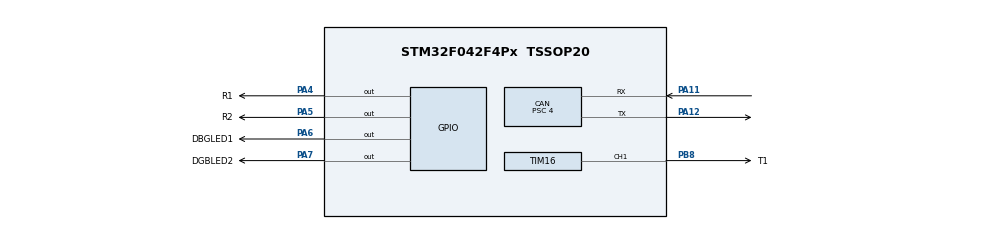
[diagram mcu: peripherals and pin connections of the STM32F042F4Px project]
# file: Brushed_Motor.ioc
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CAN.BS1=CAN_BS1_13TQ
CAN.BS2=CAN_BS2_2TQ
CAN.CalculateBaudRate=125000
CAN.CalculateTimeBit=8000
CAN.CalculateTimeQuantum=500.0
CAN.Prescaler=4
Mcu.Family=STM32F0
Mcu.Name=STM32F042F4Px
Mcu.Package=TSSOP20
NVIC.CEC_CAN_IRQn=true\:0\:0\:false\:false\:true\:true\:true\:true
PA11.Mode=CAN_Activate
PA11.Signal=CAN_RX
PA12.Mode=CAN_Activate
PA12.Signal=CAN_TX
PA13.Mode=Serial_Wire
PA13.Signal=SYS_SWDIO
PA14.Mode=Serial_Wire
PA14.Signal=SYS_SWCLK
PA4.GPIO_Label=R1
PA4.Signal=GPIO_Output
PA5.GPIO_Label=R2
PA5.Signal=GPIO_Output
PA6.GPIO_Label=DBGLED1
PA6.Signal=GPIO_Output
PA7.GPIO_Label=DGBLED2
PA7.Signal=GPIO_Output
PB8.GPIO_Label=T1
PB8.Signal=S_TIM16_CH1
ProjectManager.HeapSize=0x200
ProjectManager.StackSize=0x400
ProjectManager.TargetToolchain=STM32CubeIDE
SH.S_TIM16_CH1.0=TIM16_CH1,PWM Generation1 CH1
TIM16.Channel=TIM_CHANNEL_1
VP_SYS_VS_PINREMAP.Mode=PINREMAP
VP_TIM16_VS_ClockSourceINT.Mode=Enable_Timer
board=custom

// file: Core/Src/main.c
/* USER CODE BEGIN Header */
/**
  ******************************************************************************
  * @file           : main.c
  * @brief          : Main program body
  ******************************************************************************
  * @attention
  *
  * Copyright (c) 2025 STMicroelectronics.
  * All rights reserved.
  *
  * This software is licensed under terms that can be found in the LICENSE file
  * in the root directory of this software component.
  * If no LICENSE file comes with this software, it is provided AS-IS.
  *
  ******************************************************************************
  */
/* USER CODE END Header */
#include "main.h"

/* USER CODE BEGIN PD */
#define CAN_ACTIVATE_NOTIF_TIMEOUT 1000
#define DASHBOARD_CANID 0x0012
/* USER CODE END PD */

CAN_HandleTypeDef hcan;

TIM_HandleTypeDef htim16;

/* USER CODE BEGIN PV */
uint8_t RxMessage[8];
uint8_t speed = 0;
CAN_RxHeaderTypeDef RxHeader;
uint8_t updateFlag;

/* USER CODE END PV */

void SystemClock_Config(void);
static void MX_GPIO_Init(void);
static void MX_CAN_Init(void);
static void MX_TIM16_Init(void);

/* USER CODE BEGIN 0 */
void HAL_CAN_RxFifo0MsgPendingCallback(CAN_HandleTypeDef *can){
	if(HAL_CAN_GetRxMessage(can,CAN_FILTER_FIFO0, &RxHeader, RxMessage ) == HAL_OK){
		speed = RxMessage[0];

		HAL_GPIO_TogglePin(DBGLED1_GPIO_Port, DBGLED1_Pin);
		if(RxHeader.StdId == DASHBOARD_CANID){

		}
	}

}
/* USER CODE END 0 */

int main(void)
{

  /* MCU Configuration--------------------------------------------------------*/

  /* Reset of all peripherals, Initializes the Flash interface and the Systick. */
  HAL_Init();

  /* Configure the system clock */
  SystemClock_Config();

  /* Initialize all configured peripherals */
  MX_GPIO_Init();
  MX_CAN_Init();
  MX_TIM16_Init();
  /* USER CODE BEGIN 2 */
  updateFlag = 0;
  HAL_CAN_Start(&hcan);
  HAL_CAN_ActivateNotification(&hcan, CAN_ACTIVATE_NOTIF_TIMEOUT);

  /* USER CODE END 2 */

  /* Infinite loop */
  while (1)
  {

    /* USER CODE BEGIN 3 */
	uint32_t PRIMASK_STATE =  __get_PRIMASK();// Store the Current State of the Interrupts in (PRIMASK)

	// Note: CPSID i sets PRIMASK to 1 (disable) and CPSIE i clears PRIMASK to 0 (enables)
	__disable_irq(); // This is an Critical Section because we want to Update the Speed  without disruption
	// Edge Case: Both Relays are Off, we go to updateFlag == 1 condition, toggled the first one on but not the second
	// This will Blow the Motor
	  if(updateFlag == 1){
		  // Ensure that the Relays are On to Drive the Motor

		  HAL_GPIO_WritePin(GPIOA, GPIO_PIN_4, GPIO_PIN_SET); // Toggle Relay 48V to Motor - Terminal Relay on
		  HAL_GPIO_WritePin(GPIOA, GPIO_PIN_5, GPIO_PIN_SET); // Toggle Relay connecting Motor + Terminal to Switching N Mosfet

		  // Duty Cycle is CCR / ARR
		  // We Set CCR according to the speed, where speed ranges from 0-25
		  TIM16->CCR1 = (0.04)*speed*(TIM16->ARR) * 0.8;  // 80% of the max for testing
	  }
	  else{
		  // Diables the Relay under some condition
	  }
	  __set_PRIMASK(CPSR_STATE);
	 // __enable_irq();
  }
  /* USER CODE END 3 */
}

void SystemClock_Config(void)
{
  RCC_OscInitTypeDef RCC_OscInitStruct = {0};
  RCC_ClkInitTypeDef RCC_ClkInitStruct = {0};

  /** Initializes the RCC Oscillators according to the specified parameters
  * in the RCC_OscInitTypeDef structure.
  */
  RCC_OscInitStruct.OscillatorType = RCC_OSCILLATORTYPE_HSI;
  RCC_OscInitStruct.HSIState = RCC_HSI_ON;
  RCC_OscInitStruct.HSICalibrationValue = RCC_HSICALIBRATION_DEFAULT;
  RCC_OscInitStruct.PLL.PLLState = RCC_PLL_NONE;
  if (HAL_RCC_OscConfig(&RCC_OscInitStruct) != HAL_OK)
  {
    Error_Handler();
  }

  /** Initializes the CPU, AHB and APB buses clocks
  */
  RCC_ClkInitStruct.ClockType = RCC_CLOCKTYPE_HCLK|RCC_CLOCKTYPE_SYSCLK
                              |RCC_CLOCKTYPE_PCLK1;
  RCC_ClkInitStruct.SYSCLKSource = RCC_SYSCLKSOURCE_HSI;
  RCC_ClkInitStruct.AHBCLKDivider = RCC_SYSCLK_DIV1;
  RCC_ClkInitStruct.APB1CLKDivider = RCC_HCLK_DIV1;

  if (HAL_RCC_ClockConfig(&RCC_ClkInitStruct, FLASH_LATENCY_0) != HAL_OK)
  {
    Error_Handler();
  }
}

static void MX_CAN_Init(void)
{

  hcan.Instance = CAN;
  hcan.Init.Prescaler = 4;
  hcan.Init.Mode = CAN_MODE_NORMAL;
  hcan.Init.SyncJumpWidth = CAN_SJW_1TQ;
  hcan.Init.TimeSeg1 = CAN_BS1_13TQ;
  hcan.Init.TimeSeg2 = CAN_BS2_2TQ;
  hcan.Init.TimeTriggeredMode = DISABLE;
  hcan.Init.AutoBusOff = DISABLE;
  hcan.Init.AutoWakeUp = DISABLE;
  hcan.Init.AutoRetransmission = DISABLE;
  hcan.Init.ReceiveFifoLocked = DISABLE;
  hcan.Init.TransmitFifoPriority = DISABLE;
  if (HAL_CAN_Init(&hcan) != HAL_OK)
  {
    Error_Handler();
  }

}

static void MX_TIM16_Init(void)
{

  TIM_OC_InitTypeDef sConfigOC = {0};
  TIM_BreakDeadTimeConfigTypeDef sBreakDeadTimeConfig = {0};

  htim16.Instance = TIM16;
  htim16.Init.Prescaler = 0;
  htim16.Init.CounterMode = TIM_COUNTERMODE_UP;
  htim16.Init.Period = 65535;
  htim16.Init.ClockDivision = TIM_CLOCKDIVISION_DIV1;
  htim16.Init.RepetitionCounter = 0;
  htim16.Init.AutoReloadPreload = TIM_AUTORELOAD_PRELOAD_DISABLE;
  if (HAL_TIM_Base_Init(&htim16) != HAL_OK)
  {
    Error_Handler();
  }
  if (HAL_TIM_PWM_Init(&htim16) != HAL_OK)
  {
    Error_Handler();
  }
  sConfigOC.OCMode = TIM_OCMODE_PWM1;
  sConfigOC.Pulse = 0;
  sConfigOC.OCPolarity = TIM_OCPOLARITY_HIGH;
  sConfigOC.OCNPolarity = TIM_OCNPOLARITY_HIGH;
  sConfigOC.OCFastMode = TIM_OCFAST_DISABLE;
  sConfigOC.OCIdleState = TIM_OCIDLESTATE_RESET;
  sConfigOC.OCNIdleState = TIM_OCNIDLESTATE_RESET;
  if (HAL_TIM_PWM_ConfigChannel(&htim16, &sConfigOC, TIM_CHANNEL_1) != HAL_OK)
  {
    Error_Handler();
  }
  sBreakDeadTimeConfig.OffStateRunMode = TIM_OSSR_DISABLE;
  sBreakDeadTimeConfig.OffStateIDLEMode = TIM_OSSI_DISABLE;
  sBreakDeadTimeConfig.LockLevel = TIM_LOCKLEVEL_OFF;
  sBreakDeadTimeConfig.DeadTime = 0;
  sBreakDeadTimeConfig.BreakState = TIM_BREAK_DISABLE;
  sBreakDeadTimeConfig.BreakPolarity = TIM_BREAKPOLARITY_HIGH;
  sBreakDeadTimeConfig.AutomaticOutput = TIM_AUTOMATICOUTPUT_DISABLE;
  if (HAL_TIMEx_ConfigBreakDeadTime(&htim16, &sBreakDeadTimeConfig) != HAL_OK)
  {
    Error_Handler();
  }
  HAL_TIM_MspPostInit(&htim16);

}

static void MX_GPIO_Init(void)
{
  GPIO_InitTypeDef GPIO_InitStruct = {0};

  /* GPIO Ports Clock Enable */
  __HAL_RCC_GPIOB_CLK_ENABLE();
  __HAL_RCC_GPIOA_CLK_ENABLE();

  /*Configure GPIO pin Output Level */
  HAL_GPIO_WritePin(GPIOA, R1_Pin|R2_Pin|DBGLED1_Pin|DGBLED2_Pin, GPIO_PIN_RESET);

  /*Configure GPIO pins : R1_Pin R2_Pin DBGLED1_Pin DGBLED2_Pin */
  GPIO_InitStruct.Pin = R1_Pin|R2_Pin|DBGLED1_Pin|DGBLED2_Pin;
  GPIO_InitStruct.Mode = GPIO_MODE_OUTPUT_PP;
  GPIO_InitStruct.Pull = GPIO_NOPULL;
  GPIO_InitStruct.Speed = GPIO_SPEED_FREQ_LOW;
  HAL_GPIO_Init(GPIOA, &GPIO_InitStruct);

}

void Error_Handler(void)
{
  __disable_irq();
  while (1)
  {
  }
}
